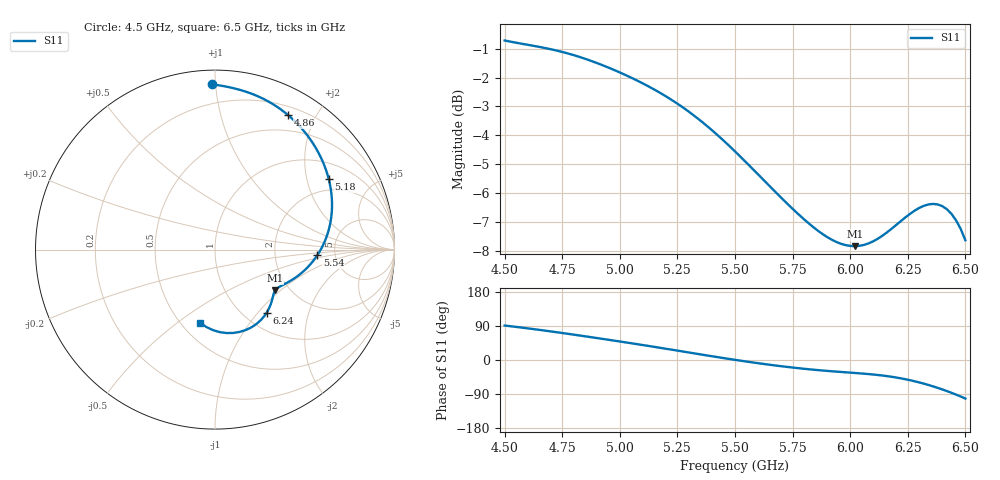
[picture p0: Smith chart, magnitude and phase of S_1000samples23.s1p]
! TOUCHSTONE file generated by CST MICROWAVE STUDIO
! Date and time: Wed Oct 26 17:41:40 2022
! Project name: L.cst
! Parameters = {Di=1.27; Epsilon_r=1.56; InnerDiameter=1.27; Length=2; Lf=10; Lg=60; OuterConductorThickness=0.2921; OuterDiameter=3.6; Wf=3; Wp=41.2; de=1.5; df=6.8; g=0.8; gx=0.734897; gy=4.42263; h=2.34; hf=1.524; px=9.79793; py=10.4966; w=9.7; wx=9.06303; wy=6.074}
! Header version: 2018
! Port assignment regex: !\s*Touchstone port\s*([0-9]+)\s*=\s*(CST MWS port|CST DS port)\s*([0-9]+|Zmin|Zmax)\s*\(\"(.*)\"\)(\s*mode\s*([0-9]+))?.*
! Touchstone port assignment:
! Touchstone port 1 = CST MWS port 1 ("")
# GHz S DB R 50
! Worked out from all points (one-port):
!   101 points, 4.5 GHz to 6.5 GHz, reference 50 ohm
!   lowest |S11| = -7.8 dB at 6.02 GHz (marker M1), VSWR 2.36, Z = 84.6 - j46.1 ohm
!   |S11| at or under -10 dB: nowhere
!   S11 on the Smith chart (normalised r, x): 4.5 GHz: 0.08, +0.98; 4.86 GHz: 0.30, +1.64; 5.18 GHz: 1.55, +2.73; 5.54 GHz: 3.62, -0.34; 6.24 GHz: 1.26, -1.11; 6.5 GHz: 0.62, -0.61
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4.5  -0.71 91.0
4.64  -0.92 80.4
4.76  -1.13 70.4
4.86  -1.38 61.6
5  -1.82 48.8
5.1  -2.20 39.4
5.18  -2.56 31.7
5.26  -2.96 23.8
5.32  -3.31 17.8
5.38  -3.69 11.9
5.5  -4.56 0.4
5.54  -4.87 -3.2
5.64  -5.68 -11.7
5.76  -6.63 -20.6
5.88  -7.43 -27.7
6  -7.84 -33.3
6.02  -7.85 -34.2
6.08  -7.75 -37.2
6.14  -7.48 -41.0
6.2  -7.11 -46.3
6.24  -6.85 -50.8
6.26  -6.72 -53.4
6.32  -6.45 -62.5
6.36  -6.38 -69.7
6.4  -6.46 -77.7
6.44  -6.73 -86.6
6.46  -6.96 -91.4
6.5  -7.64 -101.7
